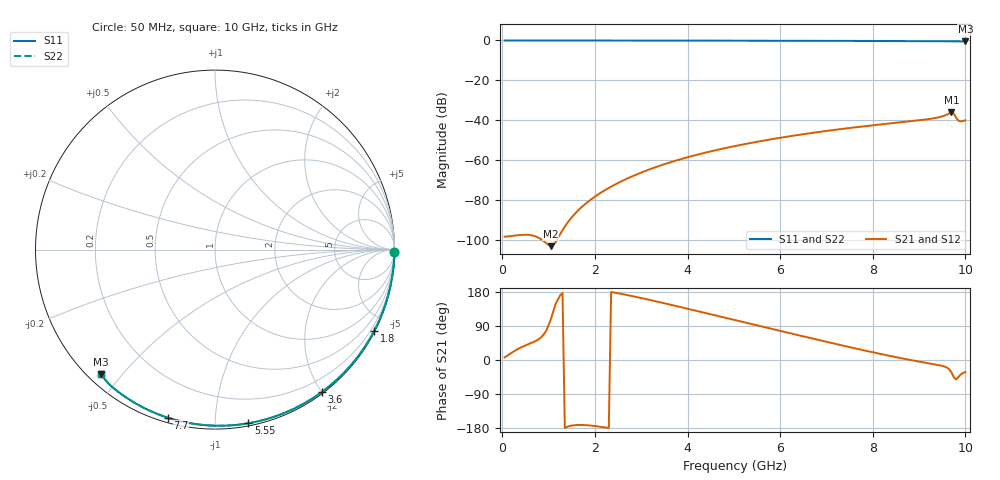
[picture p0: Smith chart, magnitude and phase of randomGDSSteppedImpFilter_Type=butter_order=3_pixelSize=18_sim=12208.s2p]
! freq	dB(S11)	phase(S11)	dB(S12)	phase(S12)
!  dB(S21)	phase(S21)	dB(S22)	phase(S22)
!S-par simulation data
#  GHz  S  DB  R 50
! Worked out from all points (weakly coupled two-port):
!   200 points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, 50 MHz to 10 GHz, reference 50 ohm
!   highest |S21| = -36.18 dB at 9.7 GHz (marker M1); lowest = -103.3 dB at 1.05 GHz (marker M2)
!   lowest |S11| = -0.5 dB at 10 GHz (marker M3), VSWR 33.80, Z = 1.77 - j22 ohm
!   |S11| at or under -10 dB: nowhere
!   |S22| runs from -0.5 to 0.0 dB; largest |S21 - S12| = 0
!   S11 on the Smith chart (normalised r, x): 50 MHz: open; 1.8 GHz: 0.04, -4.15; 3.6 GHz: 0.02, -2.01; 5.55 GHz: 0.02, -1.21; 7.7 GHz: 0.02, -0.76; 10 GHz: 0.04, -0.44
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0.05  -0.00 -0.8  -98.55 7.0  -98.55 7.0  -0.00 -0.8
1.05  -0.02 -15.9  -103.32 108.0  -103.32 108.0  -0.02 -15.9
1.75  -0.03 -26.4  -82.94 -171.6  -82.94 -171.6  -0.03 -26.4
1.8  -0.03 -27.1  -81.96 -171.9  -81.96 -171.9  -0.03 -27.1
1.9  -0.04 -28.6  -80.12 -172.9  -80.12 -172.9  -0.04 -28.6
2.25  -0.04 -33.7  -74.73 -178.6  -74.73 -178.6  -0.04 -33.7
2.55  -0.05 -38.1  -70.98 174.9  -70.98 174.9  -0.05 -38.1
2.95  -0.06 -43.8  -66.81 164.8  -66.81 164.8  -0.06 -43.8
3.4  -0.07 -50.2  -62.92 152.5  -62.92 152.5  -0.07 -50.2
3.6  -0.07 -53.0  -61.40 146.9  -61.40 146.9  -0.07 -53.0
4.3  -0.09 -62.6  -56.84 126.5  -56.84 126.5  -0.09 -62.6
5.05  -0.11 -72.6  -52.91 104.5  -52.91 104.5  -0.11 -72.6
5.55  -0.13 -79.1  -50.69 89.9  -50.69 89.9  -0.13 -79.1
6.7  -0.18 -93.6  -46.40 56.6  -46.40 56.6  -0.18 -93.6
7.7  -0.24 -105.7  -43.41 28.5  -43.41 28.5  -0.24 -105.7
8.35  -0.29 -113.3  -41.74 11.3  -41.74 11.3  -0.29 -113.4
9.35  -0.37 -125.0  -38.95 -11.8  -38.95 -11.8  -0.38 -125.0
9.55  -0.40 -127.4  -37.76 -17.4  -37.76 -17.4  -0.40 -127.4
9.7  -0.43 -129.2  -36.18 -32.8  -36.18 -32.8  -0.43 -129.2
9.75  -0.45 -129.8  -36.72 -45.7  -36.72 -45.7  -0.45 -129.8
9.85  -0.48 -130.9  -40.32 -45.1  -40.32 -45.1  -0.49 -130.9
10  -0.51 -132.5  -40.13 -32.0  -40.13 -32.0  -0.52 -132.5
